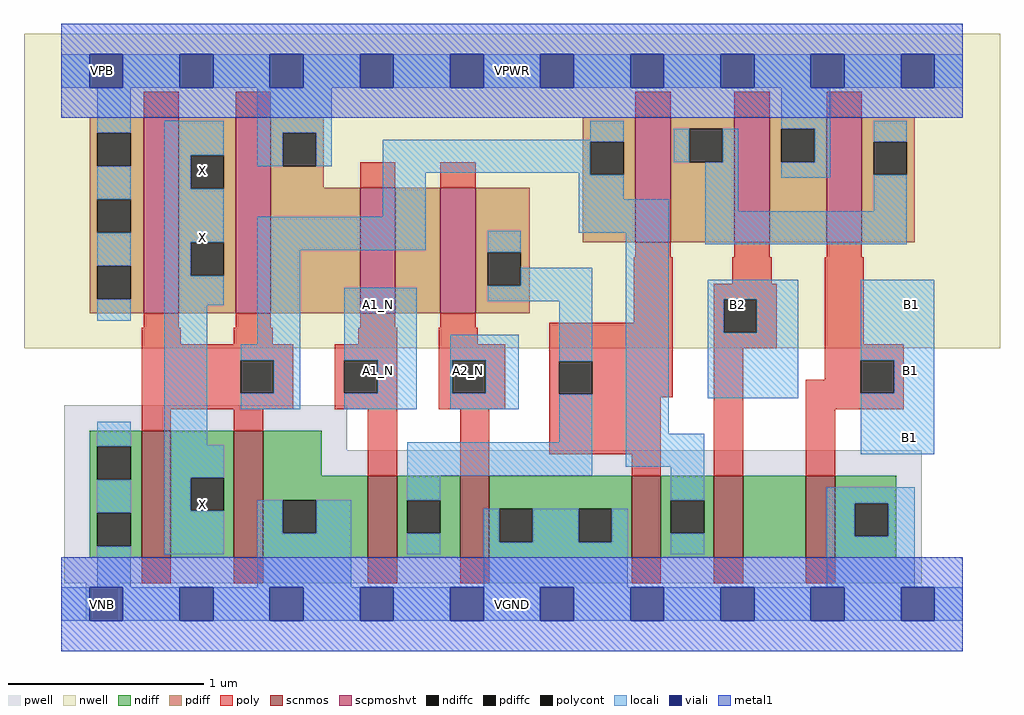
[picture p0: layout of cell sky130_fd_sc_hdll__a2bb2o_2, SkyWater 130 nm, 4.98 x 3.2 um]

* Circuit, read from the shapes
.subckt sky130_fd_sc_hdll__a2bb2o_2 A1_N A2_N B1 B2 VGND VNB VPB VPWR X
XM1 X n1 VGND VNB sky130_fd_pr__nfet_01v8 w=0.65 l=0.15 m=2
XM2 n2 A1_N VGND VNB sky130_fd_pr__nfet_01v8 w=0.42 l=0.15
XM3 VGND A2_N n2 VNB sky130_fd_pr__nfet_01v8 w=0.42 l=0.15
XM4 n1 n2 VGND VNB sky130_fd_pr__nfet_01v8 w=0.42 l=0.15
XM5 n3 B2 n1 VNB sky130_fd_pr__nfet_01v8 w=0.42 l=0.15
XM6 VGND B1 n3 VNB sky130_fd_pr__nfet_01v8 w=0.42 l=0.15
XM7 X n1 VPWR VPB sky130_fd_pr__pfet_01v8_hvt w=1 l=0.18 m=2
XM8 n4 A1_N VPWR VPB sky130_fd_pr__pfet_01v8_hvt w=0.64 l=0.18
XM9 n2 A2_N n4 VPB sky130_fd_pr__pfet_01v8_hvt w=0.64 l=0.18
XM10 n5 n2 n1 VPB sky130_fd_pr__pfet_01v8_hvt w=0.64 l=0.18
XM11 VPWR B2 n5 VPB sky130_fd_pr__pfet_01v8_hvt w=0.64 l=0.18
XM12 n5 B1 VPWR VPB sky130_fd_pr__pfet_01v8_hvt w=0.64 l=0.18
.ends

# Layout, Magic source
magic
tech sky130A
magscale 1 2
<< nwell >>
rect -38 261 958 582
<< pwell >>
rect 3 157 292 203
rect 3 21 878 157
rect 25 -17 59 21
<< scnmos >>
rect 82 47 112 177
rect 176 47 206 177
rect 313 47 343 131
rect 407 47 437 131
rect 582 47 612 131
rect 666 47 696 131
rect 760 47 790 131
<< scpmoshvt >>
rect 84 297 120 497
rect 178 297 214 497
rect 305 297 341 425
rect 387 297 423 425
rect 586 369 622 497
rect 687 369 723 497
rect 781 369 817 497
<< ndiff >>
rect 29 161 82 177
rect 29 127 37 161
rect 71 127 82 161
rect 29 93 82 127
rect 29 59 37 93
rect 71 59 82 93
rect 29 47 82 59
rect 112 129 176 177
rect 112 95 132 129
rect 166 95 176 129
rect 112 47 176 95
rect 206 131 266 177
rect 206 106 313 131
rect 206 72 226 106
rect 260 72 313 106
rect 206 47 313 72
rect 343 106 407 131
rect 343 72 353 106
rect 387 72 407 106
rect 343 47 407 72
rect 437 97 582 131
rect 437 63 447 97
rect 481 63 528 97
rect 562 63 582 97
rect 437 47 582 63
rect 612 106 666 131
rect 612 72 622 106
rect 656 72 666 106
rect 612 47 666 72
rect 696 47 760 131
rect 790 103 852 131
rect 790 69 810 103
rect 844 69 852 103
rect 790 47 852 69
<< pdiff >>
rect 29 481 84 497
rect 29 447 37 481
rect 71 447 84 481
rect 29 413 84 447
rect 29 379 37 413
rect 71 379 84 413
rect 29 345 84 379
rect 29 311 37 345
rect 71 311 84 345
rect 29 297 84 311
rect 120 458 178 497
rect 120 424 132 458
rect 166 424 178 458
rect 120 369 178 424
rect 120 335 132 369
rect 166 335 178 369
rect 120 297 178 335
rect 214 481 268 497
rect 214 447 226 481
rect 260 447 268 481
rect 532 472 586 497
rect 214 425 268 447
rect 532 438 540 472
rect 574 438 586 472
rect 214 297 305 425
rect 341 297 387 425
rect 423 359 478 425
rect 532 369 586 438
rect 622 485 687 497
rect 622 451 641 485
rect 675 451 687 485
rect 622 369 687 451
rect 723 485 781 497
rect 723 451 735 485
rect 769 451 781 485
rect 723 369 781 451
rect 817 472 871 497
rect 817 438 829 472
rect 863 438 871 472
rect 817 369 871 438
rect 423 325 435 359
rect 469 325 478 359
rect 423 297 478 325
<< ndiffc >>
rect 37 127 71 161
rect 37 59 71 93
rect 132 95 166 129
rect 226 72 260 106
rect 353 72 387 106
rect 447 63 481 97
rect 528 63 562 97
rect 622 72 656 106
rect 810 69 844 103
<< pdiffc >>
rect 37 447 71 481
rect 37 379 71 413
rect 37 311 71 345
rect 132 424 166 458
rect 132 335 166 369
rect 226 447 260 481
rect 540 438 574 472
rect 641 451 675 485
rect 735 451 769 485
rect 829 438 863 472
rect 435 325 469 359
<< poly >>
rect 84 497 120 523
rect 178 497 214 523
rect 586 497 622 523
rect 687 497 723 523
rect 781 497 817 523
rect 305 425 341 451
rect 387 425 423 451
rect 586 354 622 369
rect 687 354 723 369
rect 781 354 817 369
rect 84 282 120 297
rect 178 282 214 297
rect 305 282 341 297
rect 387 282 423 297
rect 584 287 624 354
rect 685 327 725 354
rect 82 265 122 282
rect 176 265 216 282
rect 303 265 343 282
rect 82 249 237 265
rect 82 215 183 249
rect 217 215 237 249
rect 82 199 237 215
rect 279 249 343 265
rect 279 215 289 249
rect 323 215 343 249
rect 279 199 343 215
rect 385 265 425 282
rect 385 249 453 265
rect 385 215 399 249
rect 433 215 453 249
rect 385 199 453 215
rect 498 248 624 287
rect 498 214 508 248
rect 542 214 624 248
rect 498 211 624 214
rect 666 311 730 327
rect 666 277 676 311
rect 710 277 730 311
rect 666 261 730 277
rect 779 265 819 354
rect 82 177 112 199
rect 176 177 206 199
rect 313 131 343 199
rect 407 131 437 199
rect 498 153 612 211
rect 582 131 612 153
rect 666 131 696 261
rect 779 249 860 265
rect 779 229 816 249
rect 760 215 816 229
rect 850 215 860 249
rect 760 199 860 215
rect 760 131 790 199
rect 82 21 112 47
rect 176 21 206 47
rect 313 21 343 47
rect 407 21 437 47
rect 582 21 612 47
rect 666 21 696 47
rect 760 21 790 47
<< polycont >>
rect 183 215 217 249
rect 289 215 323 249
rect 399 215 433 249
rect 508 214 542 248
rect 676 277 710 311
rect 816 215 850 249
<< locali >>
rect 0 527 29 561
rect 63 527 121 561
rect 155 527 213 561
rect 247 527 305 561
rect 339 527 397 561
rect 431 527 489 561
rect 523 527 581 561
rect 615 527 673 561
rect 707 527 765 561
rect 799 527 857 561
rect 891 527 920 561
rect 37 481 71 527
rect 37 413 71 447
rect 37 345 71 379
rect 37 289 71 311
rect 105 458 166 493
rect 105 424 132 458
rect 200 481 276 527
rect 200 447 226 481
rect 260 447 276 481
rect 540 474 574 493
rect 735 485 785 527
rect 328 472 574 474
rect 105 369 166 424
rect 328 440 540 472
rect 328 395 372 440
rect 105 335 132 369
rect 105 305 166 335
rect 200 361 372 395
rect 528 438 540 440
rect 625 451 641 485
rect 675 451 691 485
rect 528 413 574 438
rect 37 161 71 186
rect 37 93 71 127
rect 37 17 71 59
rect 105 162 149 305
rect 200 265 244 361
rect 435 359 469 381
rect 528 379 620 413
rect 469 325 542 343
rect 183 249 244 265
rect 217 215 244 249
rect 183 199 244 215
rect 289 249 363 323
rect 435 309 542 325
rect 323 215 363 249
rect 289 199 363 215
rect 397 249 467 275
rect 397 215 399 249
rect 433 215 467 249
rect 397 199 467 215
rect 508 248 542 309
rect 508 165 542 214
rect 105 129 166 162
rect 105 95 132 129
rect 353 131 542 165
rect 576 174 620 379
rect 657 401 691 451
rect 769 451 785 485
rect 735 435 785 451
rect 829 472 863 493
rect 829 401 863 438
rect 657 367 863 401
rect 660 311 752 331
rect 660 277 676 311
rect 710 277 752 311
rect 660 210 752 277
rect 816 249 891 331
rect 850 215 891 249
rect 576 140 656 174
rect 816 153 891 215
rect 353 106 387 131
rect 105 51 166 95
rect 200 72 226 106
rect 260 72 296 106
rect 200 17 296 72
rect 622 106 656 140
rect 353 51 387 72
rect 431 63 447 97
rect 481 63 528 97
rect 562 63 578 97
rect 431 17 578 63
rect 622 51 656 72
rect 781 103 871 119
rect 781 69 810 103
rect 844 69 871 103
rect 781 17 871 69
rect 0 -17 29 17
rect 63 -17 121 17
rect 155 -17 213 17
rect 247 -17 305 17
rect 339 -17 397 17
rect 431 -17 489 17
rect 523 -17 581 17
rect 615 -17 673 17
rect 707 -17 765 17
rect 799 -17 857 17
rect 891 -17 920 17
<< viali >>
rect 29 527 63 561
rect 121 527 155 561
rect 213 527 247 561
rect 305 527 339 561
rect 397 527 431 561
rect 489 527 523 561
rect 581 527 615 561
rect 673 527 707 561
rect 765 527 799 561
rect 857 527 891 561
rect 29 -17 63 17
rect 121 -17 155 17
rect 213 -17 247 17
rect 305 -17 339 17
rect 397 -17 431 17
rect 489 -17 523 17
rect 581 -17 615 17
rect 673 -17 707 17
rect 765 -17 799 17
rect 857 -17 891 17
<< metal1 >>
rect 0 561 920 592
rect 0 527 29 561
rect 63 527 121 561
rect 155 527 213 561
rect 247 527 305 561
rect 339 527 397 561
rect 431 527 489 561
rect 523 527 581 561
rect 615 527 673 561
rect 707 527 765 561
rect 799 527 857 561
rect 891 527 920 561
rect 0 496 920 527
rect 0 17 920 48
rect 0 -17 29 17
rect 63 -17 121 17
rect 155 -17 213 17
rect 247 -17 305 17
rect 339 -17 397 17
rect 431 -17 489 17
rect 523 -17 581 17
rect 615 -17 673 17
rect 707 -17 765 17
rect 799 -17 857 17
rect 891 -17 920 17
rect 0 -48 920 -17
<< labels >>
flabel pwell s 25 -17 59 17 0 FreeSans 200 0 0 0 VNB
port 6 nsew ground bidirectional
flabel nwell s 25 527 59 561 0 FreeSans 200 0 0 0 VPB
port 7 nsew power bidirectional
flabel metal1 s 25 -17 59 17 0 FreeSans 200 0 0 0 VGND
port 5 nsew ground bidirectional
flabel metal1 s 25 527 59 561 0 FreeSans 200 0 0 0 VPWR
port 8 nsew power bidirectional
flabel locali s 25 527 59 561 0 FreeSans 200 0 0 0 VPWR
port 8 nsew power bidirectional
flabel locali s 25 -17 59 17 0 FreeSans 200 0 0 0 VGND
port 5 nsew ground bidirectional
flabel locali s 850 221 884 255 0 FreeSans 200 0 0 0 B1
port 3 nsew signal input
flabel locali s 851 289 885 323 0 FreeSans 200 0 0 0 B1
port 3 nsew signal input
flabel locali s 849 153 883 187 0 FreeSans 200 0 0 0 B1
port 3 nsew signal input
flabel locali s 307 221 341 255 0 FreeSans 200 0 0 0 A1_N
port 1 nsew signal input
flabel locali s 399 221 433 255 0 FreeSans 200 0 0 0 A2_N
port 2 nsew signal input
flabel locali s 127 85 161 119 0 FreeSans 200 0 0 0 X
port 9 nsew signal output
flabel locali s 673 289 707 323 0 FreeSans 200 0 0 0 B2
port 4 nsew signal input
flabel locali s 307 289 341 323 0 FreeSans 200 0 0 0 A1_N
port 1 nsew signal input
flabel locali s 127 425 161 459 0 FreeSans 200 0 0 0 X
port 9 nsew signal output
flabel locali s 127 357 161 391 0 FreeSans 200 0 0 0 X
port 9 nsew signal output
rlabel comment s 0 0 0 0 4 a2bb2o_2
rlabel metal1 s 0 -48 920 48 1 VGND
port 5 nsew ground bidirectional
rlabel metal1 s 0 496 920 592 1 VPWR
port 8 nsew power bidirectional
<< properties >>
string LEFsite unithd
string LEFclass CORE
string FIXED_BBOX 0 0 920 544
string GDS_FILE $PDKPATH/libs.ref/sky130_fd_sc_hdll/gds/sky130_fd_sc_hdll.gds
string LEFsymmetry X Y R90
string GDS_END 1709018
string GDS_START 1700986
string LEFproperties maskLayoutSubType "abstract" prCellType "standard" originalViewName "layout"
<< end >>
